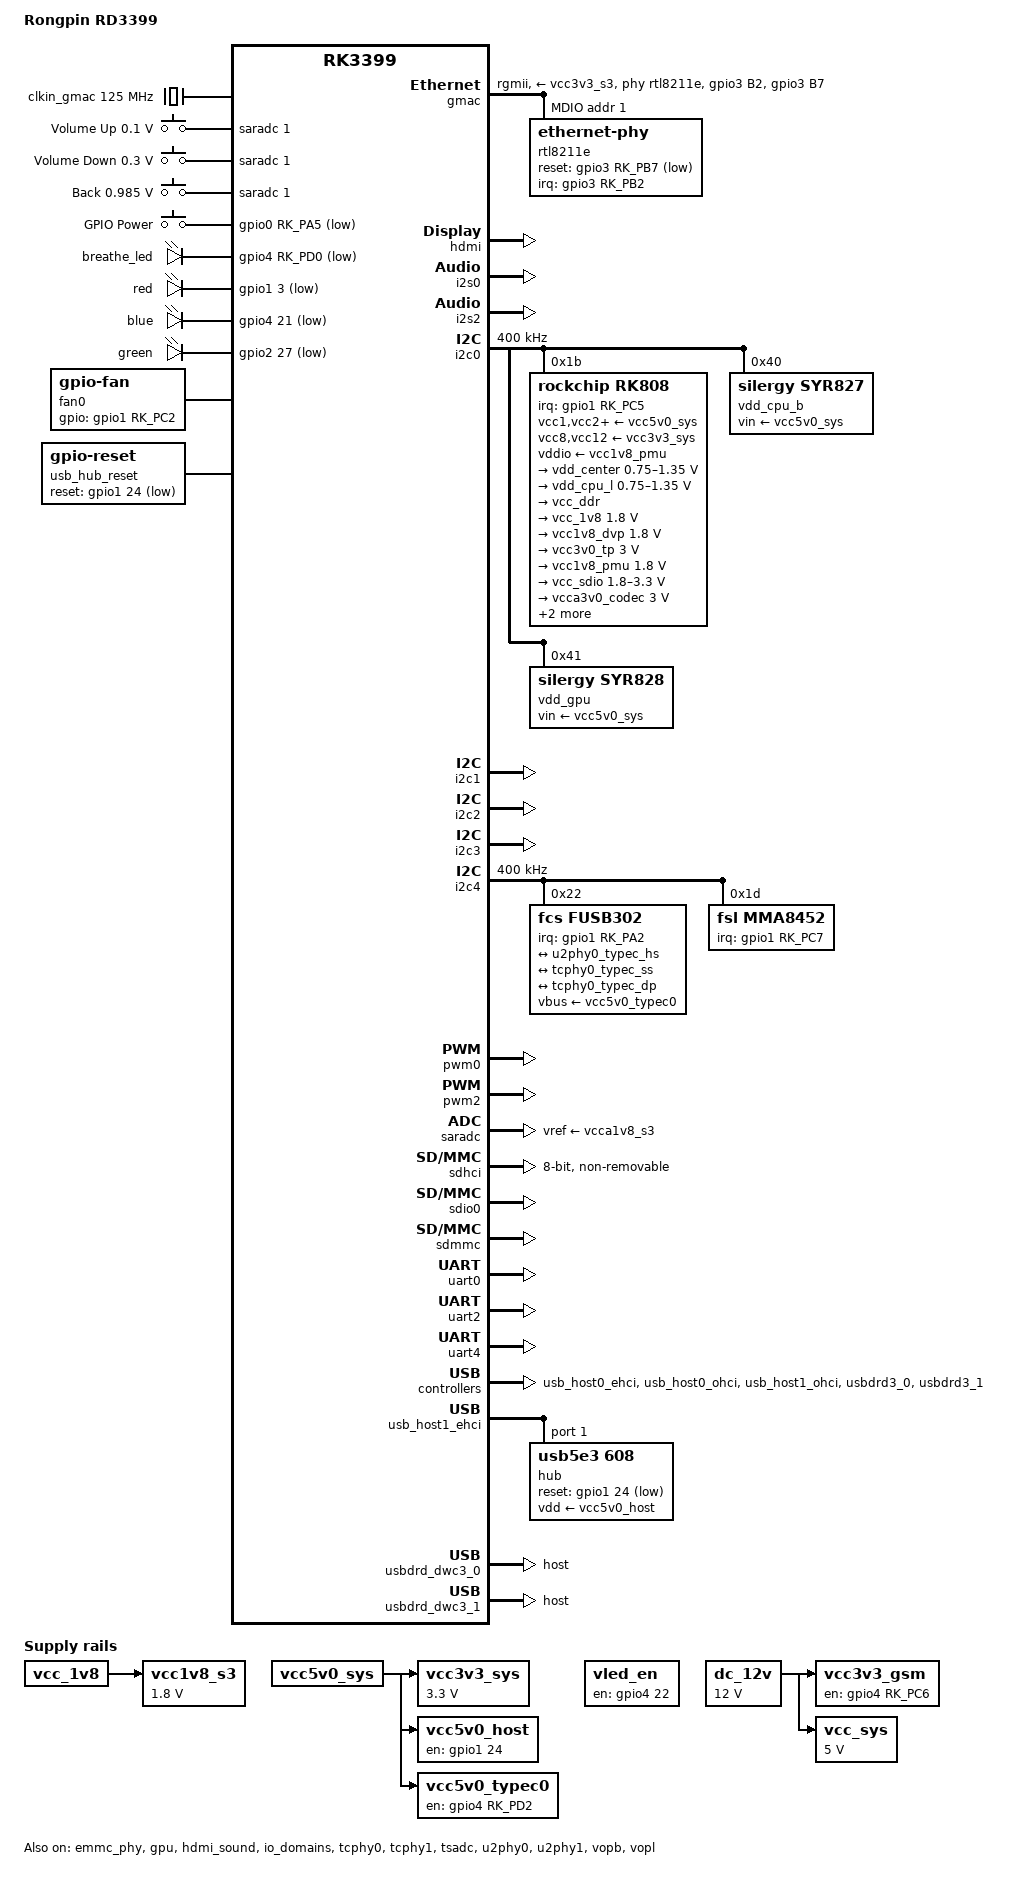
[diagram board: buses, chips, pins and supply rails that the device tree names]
// SPDX-License-Identifier: (GPL-2.0+ OR MIT)
/*
 * Copyright (c) 2017 Fuzhou Rockchip Electronics Co., Ltd.
 */

/dts-v1/;

#include <dt-bindings/pwm/pwm.h>
#include <dt-bindings/input/input.h>
#include <dt-bindings/usb/pd.h>
#include "rk3399.dtsi"

/ {
	model = "Rongpin RD3399";
	compatible = "rongpin,king3399", "rockchip,rk3399";

	aliases {
		led-boot = &breathe_led;
		led-failsafe = &breathe_led;
		led-running = &breathe_led;
		led-upgrade = &breathe_led;
		mmc0 = &sdio0;
		mmc1 = &sdmmc;
		mmc2 = &sdhci;
	};

	chosen {
		stdout-path = "serial2:1500000n8";
	};

	clkin_gmac: external-gmac-clock {
		compatible = "fixed-clock";
		clock-frequency = <125000000>;
		clock-output-names = "clkin_gmac";
		#clock-cells = <0>;
	};

	adc-keys {
		compatible = "adc-keys";
		io-channels = <&saradc 1>;
		io-channel-names = "buttons";
		keyup-threshold-microvolt = <1800000>;
		poll-interval = <100>;

		button-up {
			label = "Volume Up";
			linux,code = <KEY_VOLUMEUP>;
			press-threshold-microvolt = <100000>;
		};

		button-down {
			label = "Volume Down";
			linux,code = <KEY_VOLUMEDOWN>;
			press-threshold-microvolt = <300000>;
		};

		back {
			label = "Back";
			linux,code = <KEY_BACK>;
			press-threshold-microvolt = <985000>;
		};
	};

	keys: gpio-keys {
		compatible = "gpio-keys";
		autorepeat;

		power {
			debounce-interval = <100>;
			gpios = <&gpio0 RK_PA5 GPIO_ACTIVE_LOW>;
			label = "GPIO Power";
			linux,code = <KEY_RESTART>;
			linux,input-type = <1>;
			pinctrl-names = "default";
			pinctrl-0 = <&pwr_btn>;
			wakeup-source;
		};
	};

	/* --- LED 总使能 --- */
	vled_en: vled-en {
		compatible = "regulator-fixed";
		regulator-name = "vcc_led_en";
		gpio = <&gpio4 22 GPIO_ACTIVE_HIGH>;
		enable-active-high;
		regulator-always-on;
		regulator-boot-on;
	};

	/* switched by pmic_sleep */
	vcc1v8_s3: vcca1v8_s3: vcc1v8-s3 {
		compatible = "regulator-fixed";
		regulator-name = "vcc1v8_s3";
		regulator-always-on;
		regulator-boot-on;
		regulator-min-microvolt = <1800000>;
		regulator-max-microvolt = <1800000>;
		vin-supply = <&vcc_1v8>;
	};

	vcc3v3_sys: vcc3v3-sys {
		compatible = "regulator-fixed";
		regulator-name = "vcc3v3_sys";
		regulator-always-on;
		regulator-boot-on;
		regulator-min-microvolt = <3300000>;
		regulator-max-microvolt = <3300000>;
		vin-supply = <&vcc5v0_sys>;
	};

	vcc3v3_gsm: vcc3v3-gsm {
		compatible = "regulator-fixed";
		enable-active-high;
		gpio = <&gpio4 RK_PC6 GPIO_ACTIVE_HIGH>;
		pinctrl-names = "default";
		pinctrl-0 = <&vcc3v3_gsm_en>;
		regulator-name = "vcc3v3_gsm";
		vin-supply = <&dc_12v>;
	};

	vcc5v0_host: vcc5v0-host-regulator {
		compatible = "regulator-fixed";
		enable-active-high;
		regulator-boot-on;
		gpio = <&gpio1 24 GPIO_ACTIVE_HIGH>;
		pinctrl-names = "default";
		pinctrl-0 = <&vcc5v0_host_en>;
		regulator-name = "vcc5v0_host";
		vin-supply = <&vcc5v0_sys>;
	};

	vcc5v0_typec0: vbus-typec-regulator {
		compatible = "regulator-fixed";
		enable-active-high;
		gpio = <&gpio4 RK_PD2 GPIO_ACTIVE_HIGH>;
		pinctrl-names = "default";
		pinctrl-0 = <&vcc5v0_typec_en>;
		regulator-name = "vcc5v0_typec0";
		vin-supply = <&vcc5v0_sys>;
	};

	vcc_sys: vcc5v0_sys: vcc5v0-sys {
		compatible = "regulator-fixed";
		regulator-name = "vcc5v0_sys";
		regulator-always-on;
		regulator-boot-on;
		regulator-min-microvolt = <5000000>;
		regulator-max-microvolt = <5000000>;
		vin-supply = <&dc_12v>;
	};

	dc_12v: vdd_12v: dc-12v {
		compatible = "regulator-fixed";
		regulator-name = "dc_12v";
		regulator-always-on;
		regulator-boot-on;
		regulator-min-microvolt = <12000000>;
		regulator-max-microvolt = <12000000>;
	};

	leds {
		compatible = "gpio-leds";
		pinctrl-names = "default";
		pinctrl-0 = <&breathe_led_pin>;

		breathe_led: led-breathe-led {
			label = "breathe_led";
			linux,default-trigger = "heartbeat";
			default-state = "off";
			gpios = <&gpio4 RK_PD0 GPIO_ACTIVE_LOW>;
		};

		led_red: led-1 {
			label = "red";
			gpios = <&gpio1 3 GPIO_ACTIVE_LOW>;
			default-state = "off";
		};

		led_blue: led-2 {
			label = "blue";
			gpios = <&gpio4 21 GPIO_ACTIVE_LOW>;
			default-state = "off";
		};

		led_green: led-3 {
			label = "green";
			gpios = <&gpio2 27 GPIO_ACTIVE_LOW>;
			default-state = "off";
		};
	};

	fan0: gpio-fan {
		#cooling-cells = <2>;
		compatible = "gpio-fan";
		gpio-fan,speed-map = <0 0 3000 1>;
		gpios = <&gpio1 RK_PC2 GPIO_ACTIVE_HIGH>;
		status = "okay";
	};

	usb_hub_reset: usb-hub-reset {
		compatible = "gpio-reset";
		reset-gpios = <&gpio1 24 GPIO_ACTIVE_LOW>;
		reset-assert-us = <10000>;
		reset-deassert-us = <10000>;
	};
};

&cpu_l0 {
	cpu-supply = <&vdd_cpu_l>;
};

&cpu_l1 {
	cpu-supply = <&vdd_cpu_l>;
};

&cpu_l2 {
	cpu-supply = <&vdd_cpu_l>;
};

&cpu_l3 {
	cpu-supply = <&vdd_cpu_l>;
};

&cpu_b0 {
	cpu-supply = <&vdd_cpu_b>;
};

&cpu_b1 {
	cpu-supply = <&vdd_cpu_b>;
};

&cpu_thermal {
	trips {
		cpu_hot: cpu_hot {
			hysteresis = <10000>;
			temperature = <55000>;
			type = "active";
		};
	};

	cooling-maps {
		map2 {
			cooling-device =
				<&fan0 THERMAL_NO_LIMIT THERMAL_NO_LIMIT>;
			trip = <&cpu_hot>;
		};
	};
};

&emmc_phy {
	status = "okay";
};

&gmac {
	assigned-clocks = <&cru SCLK_RMII_SRC>;
	assigned-clock-parents = <&clkin_gmac>;
	clock_in_out = "input";
	phy-supply = <&vcc3v3_s3>;
	phy-mode = "rgmii";
	phy-handle = <&rtl8211e>;
	pinctrl-names = "default";
	pinctrl-0 = <&rgmii_pins>, <&phy_intb>, <&phy_rstb>;
	tx_delay = <0x28>;
	rx_delay = <0x11>;
	status = "okay";

	mdio {
		compatible = "snps,dwmac-mdio";
		#address-cells = <1>;
		#size-cells = <0>;

		rtl8211e: ethernet-phy@1 {
			reg = <1>;
			interrupt-parent = <&gpio3>;
			interrupts = <RK_PB2 IRQ_TYPE_LEVEL_LOW>;
			reset-assert-us = <10000>;
			reset-deassert-us = <30000>;
			reset-gpios = <&gpio3 RK_PB7 GPIO_ACTIVE_LOW>;
		};
	};
};

&gpu {
	mali-supply = <&vdd_gpu>;
	status = "okay";
};

&hdmi {
	ddc-i2c-bus = <&i2c3>;
	status = "okay";
};

&hdmi_sound {
	status = "okay";
};

&i2s0 {
	status = "okay";
};

&i2s2 {
	status = "okay";
};

&i2c0 {
	clock-frequency = <400000>;
	i2c-scl-rising-time-ns = <168>;
	i2c-scl-falling-time-ns = <4>;
	status = "okay";

	rk808: pmic@1b {
		compatible = "rockchip,rk808";
		reg = <0x1b>;
		interrupt-parent = <&gpio1>;
		interrupts = <RK_PC5 IRQ_TYPE_LEVEL_LOW>;
		#clock-cells = <1>;
		clock-output-names = "rk808-clkout1", "rk808-clkout2";
		pinctrl-names = "default";
		pinctrl-0 = <&pmic_int_l &pmic_dvs2>;
		rockchip,system-power-controller;
		wakeup-source;

		vcc1-supply = <&vcc5v0_sys>;
		vcc2-supply = <&vcc5v0_sys>;
		vcc3-supply = <&vcc5v0_sys>;
		vcc4-supply = <&vcc5v0_sys>;
		vcc6-supply = <&vcc5v0_sys>;
		vcc7-supply = <&vcc5v0_sys>;
		vcc8-supply = <&vcc3v3_sys>;
		vcc9-supply = <&vcc5v0_sys>;
		vcc10-supply = <&vcc5v0_sys>;
		vcc11-supply = <&vcc5v0_sys>;
		vcc12-supply = <&vcc3v3_sys>;
		vddio-supply = <&vcc1v8_pmu>;

		regulators {
			vdd_center: DCDC_REG1 {
				regulator-name = "vdd_center";
				regulator-always-on;
				regulator-boot-on;
				regulator-min-microvolt = <750000>;
				regulator-max-microvolt = <1350000>;
				regulator-ramp-delay = <6001>;
				regulator-state-mem {
					regulator-off-in-suspend;
				};
			};

			vdd_cpu_l: DCDC_REG2 {
				regulator-name = "vdd_cpu_l";
				regulator-always-on;
				regulator-boot-on;
				regulator-min-microvolt = <750000>;
				regulator-max-microvolt = <1350000>;
				regulator-ramp-delay = <6001>;
				regulator-state-mem {
					regulator-off-in-suspend;
				};
			};

			vcc_ddr: DCDC_REG3 {
				regulator-name = "vcc_ddr";
				regulator-always-on;
				regulator-boot-on;
				regulator-state-mem {
					regulator-on-in-suspend;
				};
			};

			vcc_1v8: DCDC_REG4 {
				regulator-name = "vcc_1v8";
				regulator-always-on;
				regulator-boot-on;
				regulator-min-microvolt = <1800000>;
				regulator-max-microvolt = <1800000>;
				regulator-state-mem {
					regulator-on-in-suspend;
					regulator-suspend-microvolt = <1800000>;
				};
			};

			vcc1v8_dvp: LDO_REG1 {
				regulator-name = "vcc1v8_dvp";
				regulator-always-on;
				regulator-boot-on;
				regulator-min-microvolt = <1800000>;
				regulator-max-microvolt = <1800000>;
				regulator-state-mem {
					regulator-off-in-suspend;
				};
			};

			vcc3v0_tp: LDO_REG2 {
				regulator-name = "vcc3v0_tp";
				regulator-always-on;
				regulator-boot-on;
				regulator-min-microvolt = <3000000>;
				regulator-max-microvolt = <3000000>;
				regulator-state-mem {
					regulator-off-in-suspend;
				};
			};

			vcc1v8_pmu: LDO_REG3 {
				regulator-name = "vcc1v8_pmu";
				regulator-always-on;
				regulator-boot-on;
				regulator-min-microvolt = <1800000>;
				regulator-max-microvolt = <1800000>;
				regulator-state-mem {
					regulator-on-in-suspend;
					regulator-suspend-microvolt = <1800000>;
				};
			};

			vcc_sdio: LDO_REG4 {
				regulator-name = "vcc_sdio";
				regulator-always-on;
				regulator-boot-on;
				regulator-min-microvolt = <1800000>;
				regulator-max-microvolt = <3300000>;
				regulator-state-mem {
					regulator-on-in-suspend;
					regulator-suspend-microvolt = <3000000>;
				};
			};

			vcca3v0_codec: LDO_REG5 {
				regulator-name = "vcca3v0_codec";
				regulator-always-on;
				regulator-boot-on;
				regulator-min-microvolt = <3000000>;
				regulator-max-microvolt = <3000000>;
				regulator-state-mem {
					regulator-off-in-suspend;
				};
			};

			vcc_1v5: LDO_REG6 {
				regulator-name = "vcc_1v5";
				regulator-always-on;
				regulator-boot-on;
				regulator-min-microvolt = <1500000>;
				regulator-max-microvolt = <1500000>;
				regulator-state-mem {
					regulator-on-in-suspend;
					regulator-suspend-microvolt = <1500000>;
				};
			};

			vcca1v8_codec: LDO_REG7 {
				regulator-name = "vcca1v8_codec";
				regulator-always-on;
				regulator-boot-on;
				regulator-min-microvolt = <1800000>;
				regulator-max-microvolt = <1800000>;
				regulator-state-mem {
					regulator-off-in-suspend;
				};
			};

			vcc_3v0: LDO_REG8 {
				regulator-name = "vcc_3v0";
				regulator-always-on;
				regulator-boot-on;
				regulator-min-microvolt = <3000000>;
				regulator-max-microvolt = <3000000>;
				regulator-state-mem {
					regulator-on-in-suspend;
					regulator-suspend-microvolt = <3000000>;
				};
			};

			vcc3v3_s3: vcc_lan: SWITCH_REG1 {
				regulator-name = "vcc3v3_s3";
				regulator-always-on;
				regulator-boot-on;
				regulator-state-mem {
					regulator-off-in-suspend;
				};
			};

			vcc3v3_s0: SWITCH_REG2 {
				regulator-name = "vcc3v3_s0";
				regulator-always-on;
				regulator-boot-on;
				regulator-state-mem {
					regulator-off-in-suspend;
				};
			};
		};
	};

	vdd_cpu_b: regulator@40 {
		compatible = "silergy,syr827";
		reg = <0x40>;
		fcs,suspend-voltage-selector = <1>;
		pinctrl-names = "default";
		pinctrl-0 = <&cpu_b_sleep>;
		regulator-name = "vdd_cpu_b";
		regulator-min-microvolt = <712500>;
		regulator-max-microvolt = <1500000>;
		regulator-ramp-delay = <1000>;
		regulator-always-on;
		regulator-boot-on;
		vin-supply = <&vcc5v0_sys>;

		regulator-state-mem {
			regulator-off-in-suspend;
		};
	};

	vdd_gpu: regulator@41 {
		compatible = "silergy,syr828";
		reg = <0x41>;
		fcs,suspend-voltage-selector = <1>;
		pinctrl-names = "default";
		pinctrl-0 = <&gpu_sleep>;
		regulator-name = "vdd_gpu";
		regulator-min-microvolt = <712500>;
		regulator-max-microvolt = <1500000>;
		regulator-ramp-delay = <1000>;
		regulator-always-on;
		regulator-boot-on;
		vin-supply = <&vcc5v0_sys>;

		regulator-state-mem {
			regulator-off-in-suspend;
		};
	};
};

&i2c1 {
	status = "okay";
};

&i2c2 {
	status = "okay";
};

&i2c3 {
	status = "okay";
};

&i2c4 {
	clock-frequency = <400000>;
	i2c-scl-rising-time-ns = <450>;
	i2c-scl-falling-time-ns = <15>;
	status = "okay";

	fusb302@22 {
		compatible = "fcs,fusb302";
		reg = <0x22>;
		interrupt-parent = <&gpio1>;
		interrupts = <RK_PA2 IRQ_TYPE_LEVEL_LOW>;
		pinctrl-names = "default";
		pinctrl-0 = <&chg_cc_int_l>;
		vbus-supply = <&vcc5v0_typec0>;

		typec_con: connector {
			compatible = "usb-c-connector";
			data-role = "host";
			label = "USB-C";
			op-sink-microwatt = <1000000>;
			power-role = "dual";
			sink-pdos =
				<PDO_FIXED(5000, 2500, PDO_FIXED_USB_COMM)>;
			source-pdos =
				<PDO_FIXED(5000, 1400, PDO_FIXED_USB_COMM)>;
			try-power-role = "sink";

			ports {
				#address-cells = <1>;
				#size-cells = <0>;

				port@0 {
					reg = <0>;
					typec_hs: endpoint {
						remote-endpoint = <&u2phy0_typec_hs>;
					};
				};
				port@1 {
					reg = <1>;
					typec_ss: endpoint {
						remote-endpoint = <&tcphy0_typec_ss>;
					};
				};
				port@2 {
					reg = <2>;
					typec_dp: endpoint {
						remote-endpoint = <&tcphy0_typec_dp>;
					};
				};
			};
		};
	};

	mma8452: mma8452@1d {
		compatible = "fsl,mma8452";
		reg = <0x1d>;
		interrupt-parent = <&gpio1>;
		interrupts = <RK_PC7 IRQ_TYPE_EDGE_RISING>;
		pinctrl-names = "default";
		pinctrl-0 = <&gsensor_int>;
	};
};

&io_domains {
	status = "okay";
	bt656-supply = <&vcc_1v8>;
	audio-supply = <&vcca1v8_codec>;
	sdmmc-supply = <&vcc_sdio>;
	gpio1830-supply = <&vcc_3v0>;
};

&pmu_io_domains {
	status = "okay";
	pmu1830-supply = <&vcc_1v8>;
};

&hdmi {
	ddc-i2c-bus = <&i2c3>;
	status = "okay";
};

&pinctrl {
	buttons {
		pwr_btn: pwr-btn {
			rockchip,pins = <0 RK_PA5 RK_FUNC_GPIO &pcfg_pull_up>;
		};
	};

	fan {
		motor_pwr: motor-pwr {
			rockchip,pins = <1 RK_PC2 RK_FUNC_GPIO &pcfg_pull_none>;
		};
	};

	gmac {
		phy_intb: phy-intb {
			rockchip,pins = <3 RK_PB2 RK_FUNC_GPIO &pcfg_pull_up>;
		};

		phy_rstb: phy-rstb {
			rockchip,pins = <3 RK_PB7 RK_FUNC_GPIO &pcfg_pull_none>;
		};
	};

	pmic {
		cpu_b_sleep: cpu-b-sleep {
			rockchip,pins = <1 RK_PC1 RK_FUNC_GPIO &pcfg_pull_down>;
		};

		gpu_sleep: gpu-sleep {
			rockchip,pins = <1 RK_PB6 RK_FUNC_GPIO &pcfg_pull_down>;
		};

		pmic_int_l: pmic-int-l {
			rockchip,pins = <1 RK_PC5 RK_FUNC_GPIO &pcfg_pull_up>;
		};

		pmic_dvs2: pmic-dvs2 {
			rockchip,pins = <1 RK_PA5 RK_FUNC_GPIO &pcfg_pull_down>;
		};
	};

	usb2 {
		vcc5v0_host_en: vcc5v0-host-en {
			rockchip,pins = <1 24 RK_FUNC_GPIO &pcfg_pull_none>;
		};

		vcc5v0_typec_en: vcc5v0-typec-en {
			rockchip,pins = <4 RK_PD2 RK_FUNC_GPIO &pcfg_pull_none>;
		};

		hub_rst: hub-rst {
			rockchip,pins = <1 RK_PD0 RK_FUNC_GPIO &pcfg_pull_none>;
		};
	};

	fusb302 {
		chg_cc_int_l: chg-cc-int-l {
			rockchip,pins = <1 RK_PA2 RK_FUNC_GPIO &pcfg_pull_up>;
		};
	};

	leds {
		breathe_led_pin: breathe-led-pin {
			rockchip,pins = <4 RK_PD0 RK_FUNC_GPIO &pcfg_pull_none>;
		};
	};

	gsm {
		vcc3v3_gsm_en: vcc3v3-gsm-en {
			rockchip,pins = <4 RK_PC6 RK_FUNC_GPIO &pcfg_pull_none>;
		};
	};

	mma8452 {
		gsensor_int: gsensor-int {
			rockchip,pins = <1 RK_PC7 RK_FUNC_GPIO &pcfg_pull_up>;
		};
	};
};

&pwm0 {
	status = "okay";
};

&pwm2 {
	status = "okay";
};

&saradc {
	vref-supply = <&vcca1v8_s3>;
	status = "okay";
};

&sdhci {
	bus-width = <8>;
	mmc-hs400-1_8v;
	mmc-hs400-enhanced-strobe;
	non-removable;
	status = "okay";
};

&sdio0 {
	status = "okay";
};

&sdmmc {
	status = "okay";
};

&tcphy0 {
	status = "okay";
};

&tcphy0_dp {
	port {
		tcphy0_typec_dp: endpoint {
			remote-endpoint = <&typec_dp>;
		};
	};
};

&tcphy0_usb3 {
	port {
		tcphy0_typec_ss: endpoint {
			remote-endpoint = <&typec_ss>;
		};
	};
};

&tcphy1 {
	status = "okay";
};

&tsadc {
	/* tshut mode 0:CRU 1:GPIO */
	rockchip,hw-tshut-mode = <1>;
	/* tshut polarity 0:LOW 1:HIGH */
	rockchip,hw-tshut-polarity = <1>;
	status = "okay";
};

&u2phy0 {
	status = "okay";

	u2phy0_otg: otg-port {
		phy-supply = <&vcc5v0_typec0>;
		status = "okay";
	};

	u2phy0_host: host-port {
		phy-supply = <&vcc5v0_host>;
		status = "okay";
	};

	port {
		u2phy0_typec_hs: endpoint {
			remote-endpoint = <&typec_hs>;
		};
	};
};

&u2phy1 {
	status = "okay";

	u2phy1_otg: otg-port {
		status = "okay";
	};

	u2phy1_host: host-port {
		phy-supply = <&vcc5v0_host>;
		status = "okay";
	};
};

&uart0 {
	status = "okay";
};

&uart2 {
	status = "okay";
};

&uart4 {
	status = "okay";
};

&spi1 {
	status = "disabled";
};

&usb_host0_ehci {
	status = "okay";
};

&usb_host0_ohci {
	status = "okay";
};

&usb_host1_ehci {
    status = "okay";

    #address-cells = <1>;
    #size-cells = <0>;

    hub@1 {
        compatible = "usb5e3,608";   /* GL850G */
        reg = <1>;
        reset-gpios = <&gpio1 24 GPIO_ACTIVE_LOW>;
        reset-assert-us = <10000>;
        reset-deassert-us = <50000>;
        vdd-supply = <&vcc5v0_host>;
    };
};

&usb_host1_ohci {
	status = "okay";
};

&usbdrd3_0 {
	status = "okay";
};

&usbdrd_dwc3_0 {
	status = "okay";
	dr_mode = "host";
};

&usbdrd3_1 {
	status = "okay";
};

&usbdrd_dwc3_1 {
	status = "okay";
	dr_mode = "host";
};

&vopb {
	status = "okay";
};

&vopb_mmu {
	status = "okay";
};

&vopl {
	status = "okay";
};

&vopl_mmu {
	status = "okay";
};
